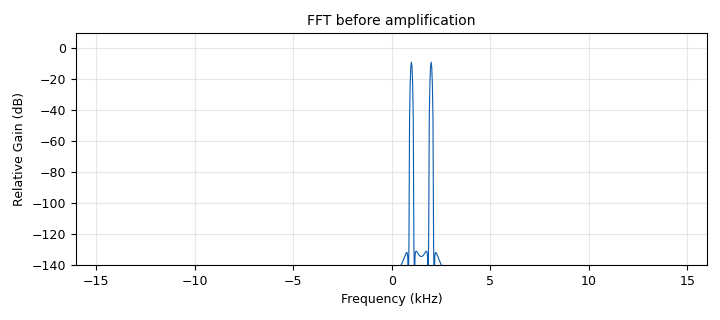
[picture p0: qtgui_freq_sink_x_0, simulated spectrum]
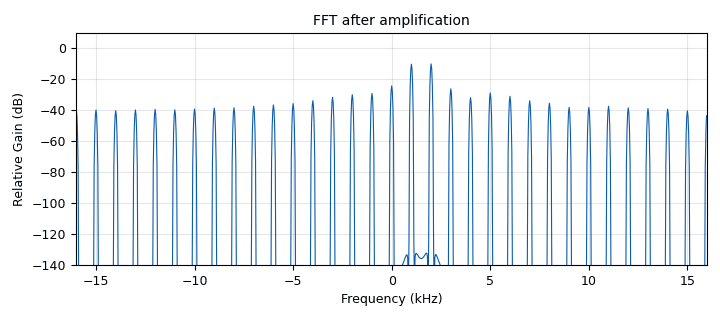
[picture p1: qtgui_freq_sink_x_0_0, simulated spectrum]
options:
  parameters:
    generate_options: qt_gui
    id: Amplifier
    output_language: python
    title: Not titled yet
  states: {}

blocks:
- name: fs
  id: variable
  parameters:
    value: '32000'
  states: {}
- name: hpa
  id: variable
  parameters:
    value: '[ [0, -1, 0], [1, 0, 5], [2, 1, 10], [3, 2, 15], [4, 3, 20], [5, 4, 25] ]'
  states: {}
- name: analog_sig_source_x_0
  id: analog_sig_source_x
  parameters:
    amp: '1'
    freq: '1000'
    offset: '0'
    phase: '0'
    samp_rate: fs
    type: complex
    waveform: analog.GR_COS_WAVE
  states: {}
- name: analog_sig_source_x_1
  id: analog_sig_source_x
  parameters:
    amp: '1'
    freq: '2000'
    offset: '0'
    phase: '0'
    samp_rate: fs
    type: complex
    waveform: analog.GR_COS_WAVE
  states: {}
- name: blocks_add_xx_0
  id: blocks_add_xx
  parameters:
    type: complex
  states: {}
- name: epy_block_0
  id: epy_block
  parameters:
    _source_code: |
      import numpy as np
      from gnuradio import gr

      class blk(gr.sync_block):  # other base classes are basic_block, decim_block, interp_block
          """Embedded Python Block example - a simple multiply const"""

          def __init__(self, hpa=1):  # only default arguments here
              """arguments to this function show up as parameters in GRC"""
              gr.sync_block.__init__(
                  self,
                  name='Amplifiers',   # will show up in GRC
                  in_sig=[np.complex64],
                  out_sig=[np.complex64]
              )
              self.hpa = np.array(hpa)

          def amplifier(self, signal_in):
              ibo_range = self.hpa[:, 0]
              obo_range = self.hpa[:, 1]
              phase_range = self.hpa[:, 2]
              signal_in_am = 20 * np.log10(np.abs(signal_in))
              signal_in_pm = np.angle(signal_in)
              signal_out_am = np.interp(signal_in_am, ibo_range, obo_range)
              signal_out_pm = np.interp(signal_in_am, ibo_range, phase_range) * np.pi / 180
              signal_out = 10**(signal_out_am / 20) * np.exp(1j * (signal_in_pm + signal_out_pm))
              
              return signal_out
          
          def work(self, input_items, output_items):
              signal_in = input_items[0]
              signal_out = self.amplifier(signal_in)

              output_items[0][:] = signal_out

              return len(output_items[0])
    hpa: hpa
  states: {}
- name: qtgui_freq_sink_x_0
  id: qtgui_freq_sink_x
  parameters:
    bw: fs
    fc: '0'
    fftsize: '1024'
    name: '"FFT before amplification"'
    type: complex
  states: {}
- name: qtgui_freq_sink_x_0_0
  id: qtgui_freq_sink_x
  parameters:
    bw: fs
    fc: '0'
    fftsize: '1024'
    name: '"FFT after amplification"'
    type: complex
  states: {}

connections:
- [analog_sig_source_x_0, '0', blocks_add_xx_0, '0']
- [analog_sig_source_x_1, '0', blocks_add_xx_0, '1']
- [blocks_add_xx_0, '0', epy_block_0, '0']
- [blocks_add_xx_0, '0', qtgui_freq_sink_x_0, '0']
- [epy_block_0, '0', qtgui_freq_sink_x_0_0, '0']

metadata:
  file_format: 1
  grc_version: 3.10.10.0
